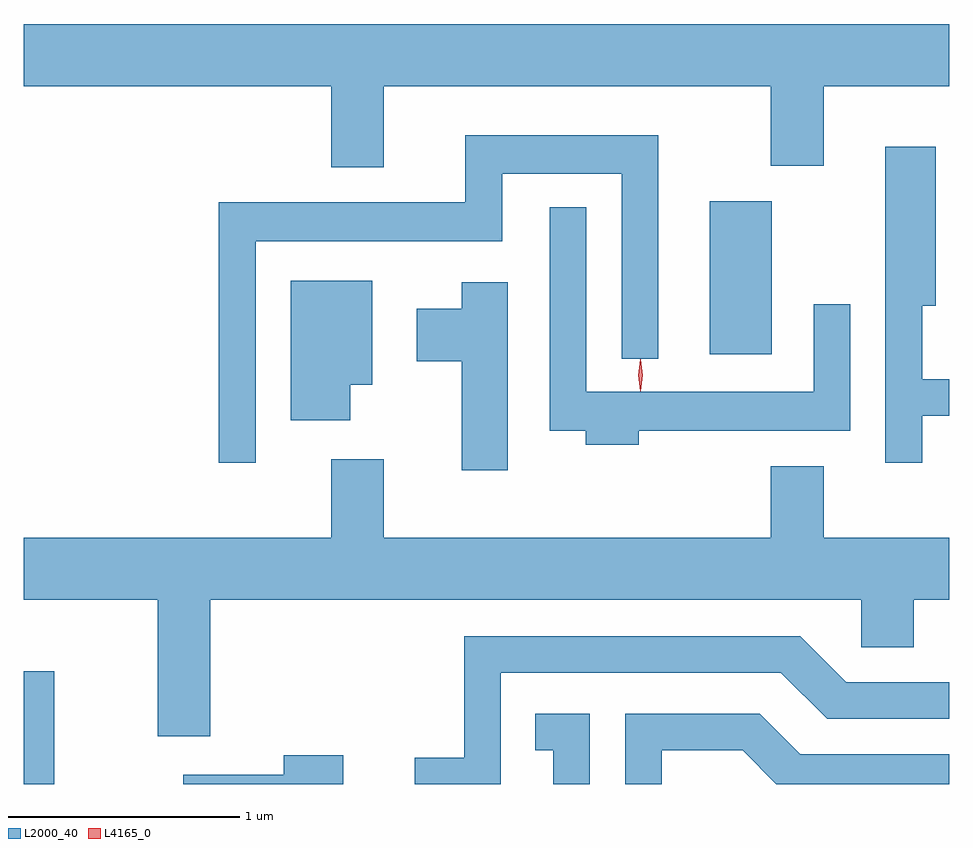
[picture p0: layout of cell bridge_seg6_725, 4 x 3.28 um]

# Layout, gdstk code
import gdstk
lib = gdstk.Library(unit=1e-6, precision=1e-09)
def R(c, l, rs):  # rectangles x0, y0, x1, y1
    for r in rs: c.add(gdstk.rectangle(r[:2], r[2:], *l))
def P(c, l, *ps):  # polygons
    for p in ps: c.add(gdstk.Polygon(p, *l))
L2000_40 = (2000, 40)
L4165_0 = (4165, 0)

bridge_seg6_725 = lib.new_cell('bridge_seg6_725')
R(bridge_seg6_725, L2000_40, [(497.932,1591.42,498.064,1591.908), (500.896,1593.276,501.164,1593.939)])
P(bridge_seg6_725, L2000_40, [(499.489,1594.436),(501.161,1594.436),(501.161,1594.091),(501.389,1594.091),(501.389,1594.436),(501.932,1594.436),(501.932,1594.704),(497.932,1594.704),(497.932,1594.436),(499.261,1594.436),(499.261,1594.086),(499.489,1594.086)],
  [(498.934,1593.766),(499.999,1593.766),(499.999,1594.056),(500.516,1594.056),(500.516,1593.258),(500.674,1593.258),(500.674,1594.224),(499.841,1594.224),(499.841,1593.934),(498.776,1593.934),(498.776,1592.808),(498.934,1592.808)],
  [(501.814,1593.011),(501.932,1593.011),(501.932,1593.169),(501.814,1593.169),(501.814,1593.486),(501.874,1593.486),(501.874,1594.174),(501.656,1594.174),(501.656,1592.808),(501.814,1592.808)],
  [(500.589,1592.946),(501.504,1592.946),(501.504,1593.493),(501.346,1593.493),(501.346,1593.114),(500.364,1593.114),(500.364,1593.913),(500.206,1593.913),(500.206,1592.946),(500.361,1592.946),(500.361,1592.886),(500.589,1592.886)],
  [(499.344,1593.146),(499.439,1593.146),(499.439,1593.594),(499.086,1593.594),(499.086,1592.991),(499.344,1592.991)],
  [(500.024,1593.589),(499.826,1593.589),(499.826,1593.474),(499.631,1593.474),(499.631,1593.246),(499.826,1593.246),(499.826,1592.776),(500.024,1592.776)],
  [(498.739,1592.216),(501.551,1592.216),(501.551,1592.011),(501.779,1592.011),(501.779,1592.216),(501.932,1592.216),(501.932,1592.484),(501.389,1592.484),(501.389,1592.794),(501.161,1592.794),(501.161,1592.484),(499.489,1592.484),(499.489,1592.824),(499.261,1592.824),(499.261,1592.484),(497.932,1592.484),(497.932,1592.216),(498.511,1592.216),(498.511,1591.626),(498.739,1591.626)],
  [(499.994,1591.901),(501.204,1591.901),(501.404,1591.701),(501.932,1591.701),(501.932,1591.859),(501.487,1591.859),(501.287,1592.059),(499.836,1592.059),(499.836,1591.534),(499.621,1591.534),(499.621,1591.42),(499.994,1591.42)],
  [(500.379,1591.724),(500.143,1591.724),(500.143,1591.566),(500.221,1591.566),(500.221,1591.42),(500.379,1591.42)],
  [(500.689,1591.566),(501.039,1591.566),(501.185,1591.42),(501.932,1591.42),(501.932,1591.549),(501.287,1591.549),(501.112,1591.724),(500.531,1591.724),(500.531,1591.42),(500.689,1591.42)],
  [(499.314,1591.544),(499.056,1591.544),(499.056,1591.459),(498.621,1591.459),(498.621,1591.42),(499.314,1591.42)])
P(bridge_seg6_725, L4165_0, [(500.597,1593.117),(500.597,1593.117),(500.587,1593.187),(500.597,1593.256),(500.597,1593.256),(500.598,1593.256),(500.607,1593.187),(500.598,1593.117)],
  [(500.597,1593.119),(500.597,1593.12),(500.587,1593.186),(500.596,1593.252),(500.597,1593.253),(500.597,1593.252),(500.607,1593.186),(500.598,1593.12)])

lib.write_gds('bridge_seg6_725.gds')
